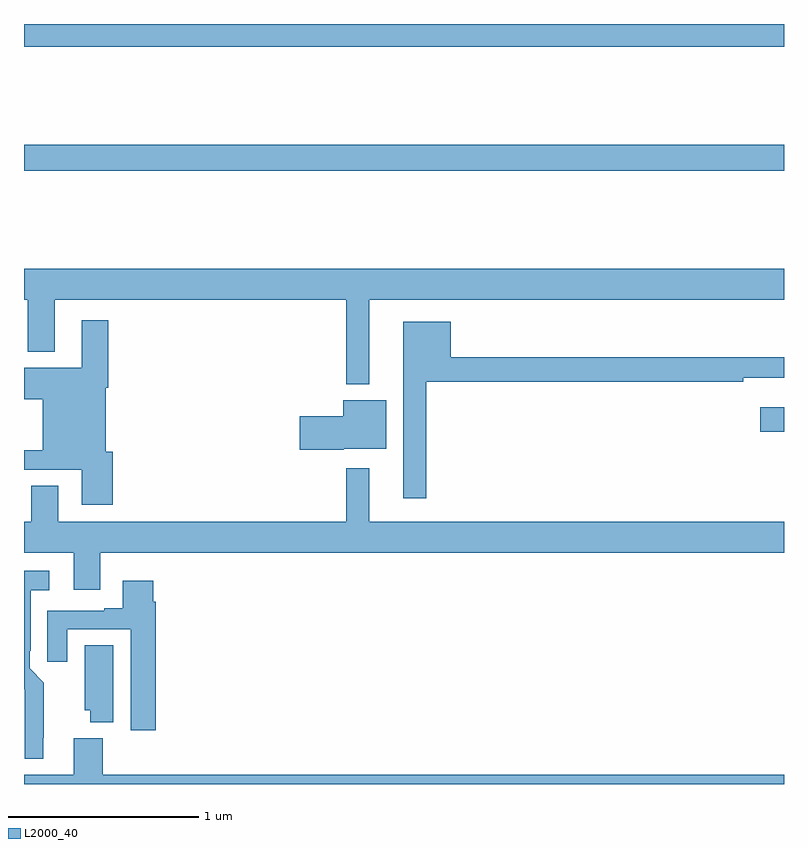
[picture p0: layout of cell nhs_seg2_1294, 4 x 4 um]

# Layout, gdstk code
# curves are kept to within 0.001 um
import gdstk
lib = gdstk.Library(unit=1e-6, precision=1e-09)
def R(c, l, rs):  # rectangles x0, y0, x1, y1
    for r in rs: c.add(gdstk.rectangle(r[:2], r[2:], *l))
def P(c, l, *ps):  # polygons
    for p in ps: c.add(gdstk.Polygon(p, *l))
L2000_40 = (2000, 40)

nhs_seg2_1294 = lib.new_cell('nhs_seg2_1294')
R(nhs_seg2_1294, L2000_40, [(182.874,601.654,183,601.783), (179,603.028,183,603.164), (179,603.68,183,603.8)])
P(nhs_seg2_1294, L2000_40, [(180.817,602.348),(183,602.348),(183,602.512),(179,602.512),(179,602.348),(179.021,602.348),(179.021,602.075),(179.161,602.075),(179.161,602.348),(180.696,602.348),(180.696,601.904),(180.817,601.904)],
  [(179.468,601.548),(179.431,601.548),(179.431,601.886),(179.444,601.886),(179.444,602.242),(179.303,602.242),(179.303,601.99),(179,601.99),(179,601.826),(179.099,601.826),(179.099,601.556),(179,601.556),(179,601.455),(179.303,601.455),(179.303,601.269),(179.468,601.269)],
  [(181.117,601.918),(182.786,601.918),(182.786,601.938),(183,601.938),(183,602.047),(181.246,602.047),(181.246,602.233),(180.995,602.233),(180.995,601.305),(181.117,601.305)],
  [(180.684,601.565),(180.907,601.565),(180.907,601.819),(180.68,601.819),(180.68,601.736),(180.45,601.736),(180.45,601.558),(180.684,601.558)],
  [(179.401,601.016),(183,601.016),(183,601.18),(180.817,601.18),(180.817,601.462),(180.696,601.462),(180.696,601.18),(179.179,601.18),(179.179,601.37),(179.039,601.37),(179.039,601.18),(179,601.18),(179,601.016),(179.261,601.016),(179.261,600.822),(179.401,600.822)],
  [(179.101,600.043),(179.105,600.043),(179.105,600.334),(179.031,600.408),(179.031,600.502),(179.035,600.502),(179.035,600.821),(179.134,600.821),(179.134,600.922),(179,600.922),(179,600.3),(179.004,600.296),(179.003,599.933),(179.101,599.933)],
  [(179.693,600.758),(179.68,600.758),(179.68,600.871),(179.519,600.871),(179.519,600.724),(179.423,600.724),(179.423,600.711),(179.123,600.711),(179.123,600.444),(179.227,600.444),(179.227,600.615),(179.561,600.615),(179.561,600.084),(179.693,600.084)],
  [(179.47,600.53),(179.321,600.53),(179.321,600.189),(179.348,600.189),(179.348,600.125),(179.47,600.125)],
  [(183,599.848),(179.414,599.848),(179.414,600.04),(179.261,600.04),(179.261,599.848),(179,599.848),(179,599.8),(183,599.8)])

lib.write_gds('nhs_seg2_1294.gds')
